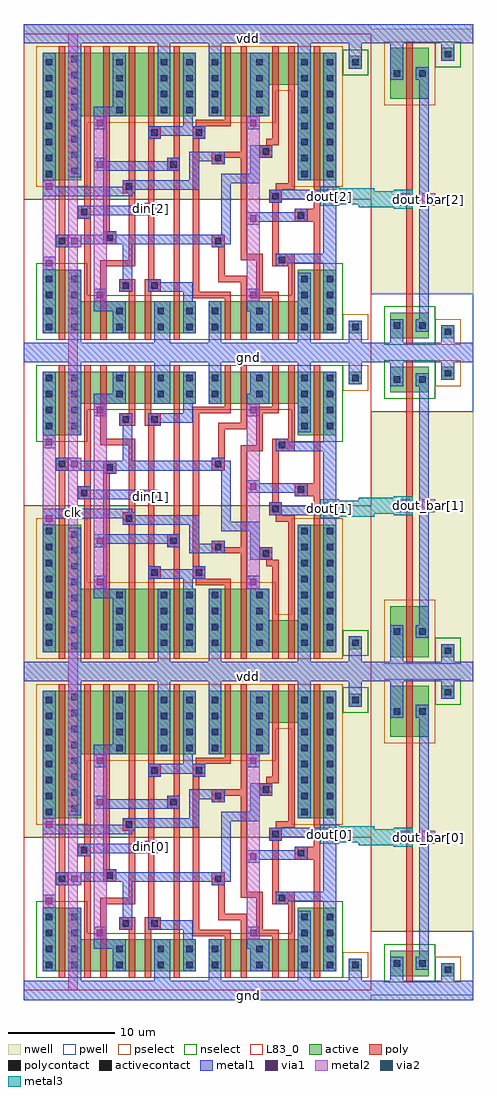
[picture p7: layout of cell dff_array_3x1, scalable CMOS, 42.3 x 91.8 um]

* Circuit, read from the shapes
.subckt dff_array_3x1 clk din[0] din[1] din[2] dout[0] dout[1] dout[2] dout_bar[0] dout_bar[1] dout_bar[2] gnd vdd
M1 gnd clk n1 gnd nfet w=6u l=0.6u
M2 gnd clk n2 gnd nfet w=6u l=0.6u
M3 gnd clk n3 gnd nfet w=6u l=0.6u
M4 n4 din[0] gnd gnd nfet w=3u l=0.6u
M5 n5 din[1] gnd gnd nfet w=3u l=0.6u
M6 n6 din[2] gnd gnd nfet w=3u l=0.6u
M7 n7 n1 n4 gnd nfet w=3u l=0.6u
M8 n8 n2 n5 gnd nfet w=3u l=0.6u
M9 n9 n3 n6 gnd nfet w=3u l=0.6u
M10 n10 clk n7 gnd nfet w=3u l=0.6u
M11 n11 clk n8 gnd nfet w=3u l=0.6u
M12 n12 clk n9 gnd nfet w=3u l=0.6u
M13 gnd n13 n10 gnd nfet w=3u l=0.6u
M14 gnd n14 n11 gnd nfet w=3u l=0.6u
M15 gnd n15 n12 gnd nfet w=3u l=0.6u
M16 n13 n7 gnd gnd nfet w=3u l=0.6u
M17 n14 n8 gnd gnd nfet w=3u l=0.6u
M18 n15 n9 gnd gnd nfet w=3u l=0.6u
M19 n16 n13 gnd gnd nfet w=3u l=0.6u
M20 n17 n14 gnd gnd nfet w=3u l=0.6u
M21 n18 n15 gnd gnd nfet w=3u l=0.6u
M22 n19 clk n16 gnd nfet w=3u l=0.6u
M23 n20 clk n17 gnd nfet w=3u l=0.6u
M24 n21 clk n18 gnd nfet w=3u l=0.6u
M25 n22 n1 n19 gnd nfet w=3u l=0.6u
M26 n23 n2 n20 gnd nfet w=3u l=0.6u
M27 n24 n3 n21 gnd nfet w=3u l=0.6u
M28 gnd dout[0] n22 gnd nfet w=3u l=0.6u
M29 gnd dout[1] n23 gnd nfet w=3u l=0.6u
M30 gnd dout[2] n24 gnd nfet w=3u l=0.6u
M31 dout[0] n19 gnd gnd nfet w=6u l=0.6u
M32 dout[1] n20 gnd gnd nfet w=6u l=0.6u
M33 dout[2] n21 gnd gnd nfet w=6u l=0.6u
M34 dout_bar[0] dout[0] gnd gnd nfet w=2.4u l=0.6u
M35 dout_bar[1] dout[1] gnd gnd nfet w=2.4u l=0.6u
M36 dout_bar[2] dout[2] gnd gnd nfet w=2.4u l=0.6u
M37 vdd clk n1 vdd pfet w=12u l=0.6u
M38 vdd clk n2 vdd pfet w=12u l=0.6u
M39 vdd clk n3 vdd pfet w=12u l=0.6u
M40 n25 din[0] vdd vdd pfet w=6u l=0.6u
M41 n26 din[1] vdd vdd pfet w=6u l=0.6u
M42 n27 din[2] vdd vdd pfet w=6u l=0.6u
M43 n7 clk n25 vdd pfet w=6u l=0.6u
M44 n8 clk n26 vdd pfet w=6u l=0.6u
M45 n9 clk n27 vdd pfet w=6u l=0.6u
M46 n28 n1 n7 vdd pfet w=6u l=0.6u
M47 n29 n2 n8 vdd pfet w=6u l=0.6u
M48 n30 n3 n9 vdd pfet w=6u l=0.6u
M49 vdd n13 n28 vdd pfet w=6u l=0.6u
M50 vdd n14 n29 vdd pfet w=6u l=0.6u
M51 vdd n15 n30 vdd pfet w=6u l=0.6u
M52 n13 n7 vdd vdd pfet w=6u l=0.6u
M53 n14 n8 vdd vdd pfet w=6u l=0.6u
M54 n15 n9 vdd vdd pfet w=6u l=0.6u
M55 n31 n13 vdd vdd pfet w=6u l=0.6u
M56 n32 n14 vdd vdd pfet w=6u l=0.6u
M57 n33 n15 vdd vdd pfet w=6u l=0.6u
M58 n19 n1 n31 vdd pfet w=6u l=0.6u
M59 n20 n2 n32 vdd pfet w=6u l=0.6u
M60 n21 n3 n33 vdd pfet w=6u l=0.6u
M61 n34 clk n19 vdd pfet w=3u l=0.6u
M62 n35 clk n20 vdd pfet w=3u l=0.6u
M63 n36 clk n21 vdd pfet w=3u l=0.6u
M64 vdd dout[0] n34 vdd pfet w=3u l=0.6u
M65 vdd dout[1] n35 vdd pfet w=3u l=0.6u
M66 vdd dout[2] n36 vdd pfet w=3u l=0.6u
M67 dout[0] n19 vdd vdd pfet w=12u l=0.6u
M68 dout[1] n20 vdd vdd pfet w=12u l=0.6u
M69 dout[2] n21 vdd vdd pfet w=12u l=0.6u
M70 dout_bar[0] dout[0] vdd vdd pfet w=4.8u l=0.6u
M71 dout_bar[1] dout[1] vdd vdd pfet w=4.8u l=0.6u
M72 dout_bar[2] dout[2] vdd vdd pfet w=4.8u l=0.6u
.ends

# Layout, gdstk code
import gdstk
lib = gdstk.Library(unit=1e-6, precision=1e-09)
def R(c, l, rs):  # rectangles x0, y0, x1, y1
    for r in rs: c.add(gdstk.rectangle(r[:2], r[2:], *l))
def A(c, l, x, y, w, h, nx, ny, dx, dy):  # array of equal rectangles
    R(c, l, [(x+i*dx, y+j*dy, x+i*dx+w, y+j*dy+h) for i in range(nx) for j in range(ny)])
pwell = (41, 0)
nwell = (42, 0)
active = (43, 0)
pselect = (44, 0)
nselect = (45, 0)
poly = (46, 0)
polycontact = (47, 0)
activecontact = (48, 0)
metal1 = (49, 0)
via1 = (50, 0)
metal2 = (51, 0)
via2 = (61, 0)
metal3 = (62, 0)
L83_0 = (83, 0)

dff = lib.new_cell('dff')
R(dff, pwell, [(0,-0.9,32.7,14.4)])
R(dff, nwell, [(0,14.4,32.7,30.9)])
R(dff, active, [(1.8,1.8,16.2,4.8), (17.4,1.8,29.4,4.8), (30.6,1.8,31.8,3), (1.8,4.8,5.4,7.8), (25.8,4.8,29.4,7.8), (1.8,16.2,5.4,22.2), (25.8,16.2,29.4,25.2), (1.8,22.2,16.2,28.2), (17.4,22.2,23.1,25.2), (17.4,25.2,29.4,28.2), (30.6,26.7,31.8,27.9)])
R(dff, pselect, [(30,1.2,32.4,3.6), (1.2,15.6,6,21.6), (25.2,15.6,30,24.6), (1.2,21.6,23.7,24.6), (1.2,24.6,30,28.8)])
R(dff, nselect, [(1.2,1.2,30,5.4), (1.2,5.4,6,8.4), (25.2,5.4,30,8.4), (30,26.1,32.4,28.5)])
R(dff, poly, [(3.3,1.2,3.9,9.9), (5.7,1.2,6.3,12.6), (7.2,1.2,7.8,8.1), (9.9,1.2,10.5,5.7), (11.4,1.2,12,5.7), (14.1,1.2,14.7,17.1), (18.9,1.2,19.5,5.1), (20.4,1.2,21,6.6), (23.4,1.2,24,5.1), (24.9,1.2,25.5,8.1), (27.3,1.2,27.9,12.3), (15.9,5.1,19.5,5.7), (21.9,5.1,24,5.7), (9,5.7,10.5,6.9), (11.4,5.7,12.9,6.9), (15.9,5.7,16.5,20.1), (21.9,5.7,22.5,8.7), (18.3,6.6,21,7.2), (11.7,6.9,12.3,20.1), (18.3,7.2,18.9,9.9), (7.2,8.1,10.5,8.7), (23.4,8.1,25.5,9.3), (9.9,8.7,10.5,15), (20.4,8.7,22.5,9.3), (20.4,9.3,21,18.3), (23.4,9.3,24,14.1), (3,9.9,4.2,11.1), (17.7,9.9,18.9,11.1), (7.5,10.2,8.7,11.4), (3.3,11.1,3.9,28.8), (7.5,11.4,8.1,28.8), (25.5,12.3,27.9,13.5), (5.1,12.6,6.3,13.8), (27.3,13.5,27.9,28.8), (5.7,13.8,6.3,28.8), (23.1,14.1,24.3,15.3), (9.3,15,10.5,16.2), (23.7,15.3,25.5,15.9), (24.9,15.9,25.5,28.8), (9.9,16.2,10.5,28.8), (13.5,17.1,14.7,18.3), (17.7,17.7,18.9,18.3), (14.1,18.3,14.7,28.8), (17.7,18.3,21,18.9), (22.2,18.3,23.4,19.5), (20.4,18.9,21,28.8), (22.8,19.5,24,20.1), (11.7,20.1,12.9,21.3), (15.9,20.1,17.1,21.3), (23.4,20.1,24,28.8), (11.7,21.3,12.3,28.8), (16.2,21.3,19.5,21.9), (18.9,21.9,19.5,28.8)])
R(dff, polycontact, [(9.3,6,9.9,6.6), (12,6,12.6,6.6), (24,8.4,24.6,9), (3.3,10.2,3.9,10.8), (18,10.2,18.6,10.8), (7.8,10.5,8.4,11.1), (25.8,12.6,26.4,13.2), (5.4,12.9,6,13.5), (23.4,14.4,24,15), (9.6,15.3,10.2,15.9), (13.8,17.4,14.4,18), (18,18,18.6,18.6), (22.5,18.6,23.1,19.2), (12,20.4,12.6,21), (16.2,20.4,16.8,21)])
A(dff, activecontact, 2.1, 2.1, 0.6, 0.6, 1, 4, 0, 1.5)
A(dff, activecontact, 4.5, 2.1, 0.6, 0.6, 1, 4, 0, 1.5)
A(dff, activecontact, 17.7, 2.1, 0.6, 0.6, 3, 2, 4.2, 1.5)
A(dff, activecontact, 28.5, 2.1, 0.6, 0.6, 1, 4, 0, 1.5)
A(dff, activecontact, 2.1, 16.5, 0.6, 0.6, 1, 8, 0, 1.5)
A(dff, activecontact, 26.1, 16.5, 0.6, 0.6, 1, 7, 0, 1.5)
A(dff, activecontact, 28.5, 16.5, 0.6, 0.6, 1, 7, 0, 1.5)
A(dff, activecontact, 4.5, 16.8, 0.6, 0.6, 1, 8, 0, 1.5)
A(dff, activecontact, 8.7, 22.5, 0.6, 0.6, 1, 4, 0, 1.5)
A(dff, activecontact, 12.9, 22.5, 0.6, 0.6, 3, 4, 2.4, 1.5)
A(dff, activecontact, 21.9, 22.5, 0.6, 0.6, 1, 4, 0, 1.5)
A(dff, activecontact, 26.1, 27, 0.6, 0.6, 3, 1, 2.4, 0)
R(dff, activecontact, [(8.7,2.1,9.3,2.7), (12.6,2.1,13.2,2.7), (15.3,2.1,15.9,2.7), (30.9,2.1,31.5,2.7), (8.7,3.6,9.3,4.2), (12.6,3.6,13.2,4.2), (15.3,3.6,15.9,4.2), (26.1,5.1,26.7,5.7), (26.1,6.6,26.7,7.2)])
R(dff, metal1, [(0,-0.9,32.7,0.9), (0,-0.9,32.7,0.9), (4.2,0.9,5.4,7.8), (12.3,0.9,13.8,4.8), (17.4,0.9,18.6,4.8), (25.8,0.9,27,7.5), (30.6,0.9,31.8,3), (1.8,1.8,3,9), (8.4,1.8,9.6,3.9), (15,1.8,16.2,4.8), (21.3,1.8,23.1,3.9), (28.2,1.8,29.4,8.4), (6.6,3.9,9.6,4.8), (21,3.9,23.1,4.8), (6.6,4.8,7.8,6), (15,4.8,15.9,5.7), (21,4.8,22.2,6), (9,5.7,10.2,6.9), (11.7,5.7,15.9,6.6), (11.7,6.6,12.9,6.9), (9.3,6.9,10.2,10.2), (23.7,8.1,24.9,8.4), (23.7,8.4,29.4,9.3), (28.2,9.3,29.4,14.4), (3,9.9,5.4,10.2), (17.7,9.9,18.9,10.2), (3,10.2,19.5,11.1), (7.5,11.1,8.7,11.4), (18.6,11.1,19.5,15.9), (21,12,22.2,12.3), (21,12.3,26.7,13.2), (5.1,12.6,6.3,12.9), (5.1,12.9,12.6,13.8), (25.5,13.2,26.7,13.5), (11.4,13.8,12.6,14.1), (23.1,14.1,24.3,14.4), (23.1,14.4,29.4,15.3), (1.8,14.7,10.2,15), (1.8,15,10.5,15.3), (1.8,15.3,16.5,15.6), (28.2,15.3,29.4,28.2), (1.8,15.6,3,28.2), (9.3,15.6,16.5,16.2), (18.6,15.9,22.2,16.8), (15.6,16.2,16.5,18), (25.8,16.2,27,29.1), (4.2,16.5,5.4,29.1), (21.3,16.8,22.2,18.3), (6.6,17.1,14.7,18), (17.7,17.7,18.9,18), (6.6,18,7.8,18.3), (13.5,18,14.7,18.3), (15.6,18,18.9,18.9), (21.3,18.3,23.4,19.5), (11.7,20.1,12.9,20.4), (15.9,20.1,17.1,20.4), (11.7,20.4,17.1,21.3), (6.6,21,7.8,22.2), (21,21,22.2,22.2), (15,21.3,15.9,22.2), (6.6,22.2,9.6,23.1), (12.6,22.2,13.8,29.1), (15,22.2,16.2,28.2), (17.4,22.2,18.6,29.1), (21.3,22.2,23.1,28.2), (8.4,23.1,9.6,28.2), (30.6,26.7,31.8,29.1), (0,29.1,32.7,30.9), (0,29.1,32.7,30.9)])
R(dff, via1, [(6.9,5.1,7.5,5.7), (21.3,5.1,21.9,5.7), (2.1,8.1,2.7,8.7), (4.5,10.2,5.1,10.8), (21.3,12.3,21.9,12.9), (11.7,13.2,12.3,13.8), (28.5,14.4,29.1,15), (2.1,15.3,2.7,15.9), (6.9,17.4,7.5,18), (6.9,21.3,7.5,21.9), (21.3,21.3,21.9,21.9)])
R(dff, metal2, [(6.6,4.8,7.8,22.2), (21,4.8,22.2,22.2), (1.8,7.8,3,16.2), (4.2,9.9,5.4,11.1), (4.2,9.9,5.4,11.1), (11.4,12.9,12.6,14.1), (11.4,12.9,12.6,14.1), (28.2,14.1,29.4,15.3), (28.2,14.1,29.4,15.3)])
R(dff, L83_0, [(0,0,32.7,30)])
dff.add(gdstk.Label('clk', (4.5,10.2), layer=51, texttype=0))
dff.add(gdstk.Label('D', (12,13.5), layer=51, texttype=0))
dff.add(gdstk.Label('Q', (28.8,14.7), layer=51, texttype=0))
dff.add(gdstk.Label('vdd', (9.6,29.4), layer=49, texttype=0))
dff.add(gdstk.Label('gnd', (13.2,0.3), layer=49, texttype=0))
dff.add(gdstk.Label('D', (12,13.5), layer=51, texttype=0))
dff.add(gdstk.Label('Q', (28.8,14.7), layer=51, texttype=0))
dff.add(gdstk.Label('clk', (4.8,10.5), layer=51, texttype=0))
dff.add(gdstk.Label('vdd', (16.35,30), layer=49, texttype=0))
dff.add(gdstk.Label('gnd', (16.35,0), layer=49, texttype=0))

active_contact_metal1_1x = lib.new_cell('active_contact_metal1_1x1_pn')
R(active_contact_metal1_1x, nwell, [(-1.8,-1.8,3,3)])
R(active_contact_metal1_1x, active, [(0,0,1.2,1.2)])
R(active_contact_metal1_1x, pselect, [(-0.6,-0.6,1.8,1.8)])
R(active_contact_metal1_1x, activecontact, [(0.3,0.3,0.9,0.9)])
R(active_contact_metal1_1x, metal1, [(0,0,1.2,1.2)])

pmos_m1_w4_8_a_p = lib.new_cell('pmos_m1_w4_8_a_p')
R(pmos_m1_w4_8_a_p, nwell, [(-1.8,-1.8,5.4,6.6)])
R(pmos_m1_w4_8_a_p, active, [(0,0,3.6,4.8)])
R(pmos_m1_w4_8_a_p, pselect, [(-0.6,-0.6,4.2,5.4)])
R(pmos_m1_w4_8_a_p, poly, [(1.5,-0.6,2.1,5.4), (1.5,-0.6,2.1,5.4)])
R(pmos_m1_w4_8_a_p, metal1, [(0,1.8,1.2,3), (2.4,1.8,3.6,3)])
pmos_m1_w4_8_a_p.add(gdstk.Reference(active_contact_metal1_1x, (0,1.8)))
pmos_m1_w4_8_a_p.add(gdstk.Reference(active_contact_metal1_1x, (2.4,1.8)))
pmos_m1_w4_8_a_p.add(gdstk.Label('G', (1.8,2.4), layer=46, texttype=0))
pmos_m1_w4_8_a_p.add(gdstk.Label('S', (0.6,2.4), layer=49, texttype=0))
pmos_m1_w4_8_a_p.add(gdstk.Label('D', (3,2.4), layer=49, texttype=0))

c_active_contact_metal1_1x = lib.new_cell('active_contact_metal1_1x1_np')
R(c_active_contact_metal1_1x, pwell, [(-1.8,-1.8,3,3)])
R(c_active_contact_metal1_1x, active, [(0,0,1.2,1.2)])
R(c_active_contact_metal1_1x, nselect, [(-0.6,-0.6,1.8,1.8)])
R(c_active_contact_metal1_1x, activecontact, [(0.3,0.3,0.9,0.9)])
R(c_active_contact_metal1_1x, metal1, [(0,0,1.2,1.2)])

nmos_m1_w2_4_a_p = lib.new_cell('nmos_m1_w2_4_a_p')
R(nmos_m1_w2_4_a_p, pwell, [(-1.8,-1.8,5.4,4.2)])
R(nmos_m1_w2_4_a_p, active, [(0,0,3.6,2.4)])
R(nmos_m1_w2_4_a_p, nselect, [(-0.6,-0.6,4.2,3)])
R(nmos_m1_w2_4_a_p, poly, [(1.5,-0.6,2.1,3), (1.5,-0.6,2.1,3)])
R(nmos_m1_w2_4_a_p, metal1, [(0,0.6,1.2,1.8), (2.4,0.6,3.6,1.8)])
nmos_m1_w2_4_a_p.add(gdstk.Reference(c_active_contact_metal1_1x, (0,0.6)))
nmos_m1_w2_4_a_p.add(gdstk.Reference(c_active_contact_metal1_1x, (2.4,0.6)))
nmos_m1_w2_4_a_p.add(gdstk.Label('G', (1.8,1.2), layer=46, texttype=0))
nmos_m1_w2_4_a_p.add(gdstk.Label('S', (0.6,1.2), layer=49, texttype=0))
nmos_m1_w2_4_a_p.add(gdstk.Label('D', (3,1.2), layer=49, texttype=0))

c_active_contact_metal1_1x_ = lib.new_cell('active_contact_metal1_1x1_nn')
R(c_active_contact_metal1_1x_, nwell, [(-1.8,-1.8,3,3)])
R(c_active_contact_metal1_1x_, active, [(0,0,1.2,1.2)])
R(c_active_contact_metal1_1x_, nselect, [(-0.6,-0.6,1.8,1.8)])
R(c_active_contact_metal1_1x_, activecontact, [(0.3,0.3,0.9,0.9)])
R(c_active_contact_metal1_1x_, metal1, [(0,0,1.2,1.2)])

c_active_contact_metal1_1x__ = lib.new_cell('active_contact_metal1_1x1_pp')
R(c_active_contact_metal1_1x__, pwell, [(-1.8,-1.8,3,3)])
R(c_active_contact_metal1_1x__, active, [(0,0,1.2,1.2)])
R(c_active_contact_metal1_1x__, pselect, [(-0.6,-0.6,1.8,1.8)])
R(c_active_contact_metal1_1x__, activecontact, [(0.3,0.3,0.9,0.9)])
R(c_active_contact_metal1_1x__, metal1, [(0,0,1.2,1.2)])

poly_contact_metal1_1x1 = lib.new_cell('poly_contact_metal1_1x1')
R(poly_contact_metal1_1x1, poly, [(0,0,1.2,1.2)])
R(poly_contact_metal1_1x1, polycontact, [(0.3,0.3,0.9,0.9)])
R(poly_contact_metal1_1x1, metal1, [(0,0,1.2,1.2)])

pinv_2 = lib.new_cell('pinv_2')
R(pinv_2, pwell, [(0,-0.45,9.6,5.55)])
R(pinv_2, nwell, [(0,5.55,9.6,30.45)])
R(pinv_2, poly, [(3.3,0.75,3.9,23.25), (3,13.8,3.3,15)])
R(pinv_2, metal1, [(0,-0.45,9.6,0.45), (1.8,-0.45,3,1.95), (6.6,0,7.8,1.95), (4.5,1.95,5.4,25.65), (2.4,13.8,3.6,15), (4.95,13.95,5.85,14.85), (1.8,25.65,3,30.45), (6.6,28.05,7.8,30), (0,29.55,9.6,30.45)])
pinv_2.add(gdstk.Reference(pmos_m1_w4_8_a_p, (1.8,23.85)))
pinv_2.add(gdstk.Reference(nmos_m1_w2_4_a_p, (1.8,1.35)))
pinv_2.add(gdstk.Reference(c_active_contact_metal1_1x_, (6.6,27.45)))
pinv_2.add(gdstk.Reference(c_active_contact_metal1_1x__, (6.6,1.35)))
pinv_2.add(gdstk.Reference(poly_contact_metal1_1x1, (2.4,13.8)))
pinv_2.add(gdstk.Label('gnd', (4.8,0), layer=49, texttype=0))
pinv_2.add(gdstk.Label('vdd', (4.8,30), layer=49, texttype=0))
pinv_2.add(gdstk.Label('A', (3,14.4), layer=49, texttype=0))
pinv_2.add(gdstk.Label('Z', (5.4,14.4), layer=49, texttype=0))

metal2_via2_metal3_1x1 = lib.new_cell('metal2_via2_metal3_1x1')
R(metal2_via2_metal3_1x1, metal2, [(0.3,0.3,1.5,1.5)])
R(metal2_via2_metal3_1x1, via2, [(0.6,0.6,1.2,1.2)])
R(metal2_via2_metal3_1x1, metal3, [(0,0,1.8,1.8)])

metal1_via1_metal2_1x1 = lib.new_cell('metal1_via1_metal2_1x1')
R(metal1_via1_metal2_1x1, metal1, [(0,0,1.2,1.2)])
R(metal1_via1_metal2_1x1, via1, [(0.3,0.3,0.9,0.9)])
R(metal1_via1_metal2_1x1, metal2, [(0,0,1.2,1.2)])

dff_inv_2 = lib.new_cell('dff_inv_2')
R(dff_inv_2, metal1, [(0,-0.9,42.3,0.9), (0,29.1,42.3,30.9)])
R(dff_inv_2, metal2, [(4.2,9.9,5.4,11.1), (11.4,12.9,12.6,14.1), (37.65,13.95,38.55,14.85), (28.35,14.25,29.25,15.15)])
R(dff_inv_2, metal3, [(31.5,13.65,33,15.15), (32.25,13.65,35.7,15.15), (28.8,13.95,32.25,15.45), (31.5,13.95,33,15.45), (31.5,14.4,33,14.7)])
dff_inv_2.add(gdstk.Reference(dff, (0,0)))
dff_inv_2.add(gdstk.Reference(pinv_2, (32.7,0)))
dff_inv_2.add(gdstk.Reference(metal2_via2_metal3_1x1, (27.9,13.8)))
dff_inv_2.add(gdstk.Reference(metal2_via2_metal3_1x1, (34.8,13.5)))
dff_inv_2.add(gdstk.Reference(metal1_via1_metal2_1x1, (35.1,13.8)))
dff_inv_2.add(gdstk.Reference(metal1_via1_metal2_1x1, (37.5,13.8)))
dff_inv_2.add(gdstk.Label('vdd', (21.15,30), layer=49, texttype=0))
dff_inv_2.add(gdstk.Label('gnd', (21.15,0), layer=49, texttype=0))
dff_inv_2.add(gdstk.Label('clk', (4.8,10.5), layer=51, texttype=0))
dff_inv_2.add(gdstk.Label('D', (12,13.5), layer=51, texttype=0))
dff_inv_2.add(gdstk.Label('Q', (28.8,14.7), layer=51, texttype=0))
dff_inv_2.add(gdstk.Label('Qb', (38.1,14.4), layer=51, texttype=0))

dff_array_3x1 = lib.new_cell('dff_array_3x1')
A(dff_array_3x1, metal1, 0, -0.9, 42.3, 0.9, 1, 4, 0, 30)
R(dff_array_3x1, metal2, [(4.2,0,5.1,90), (11.4,12.9,12.6,14.1), (37.65,13.95,38.55,14.85), (28.35,14.25,29.25,15.15), (28.35,44.85,29.25,45.75), (37.65,45.15,38.55,46.05), (11.4,45.9,12.6,47.1), (11.4,72.9,12.6,74.1), (37.65,73.95,38.55,74.85), (28.35,74.25,29.25,75.15)])
dff_array_3x1.add(gdstk.Reference(dff_inv_2, (0,0)))
dff_array_3x1.add(gdstk.Reference(dff_inv_2, (0,60), x_reflection=True))
dff_array_3x1.add(gdstk.Reference(dff_inv_2, (0,60)))
dff_array_3x1.add(gdstk.Label('vdd', (21.15,29.55), layer=49, texttype=0))
dff_array_3x1.add(gdstk.Label('vdd', (21.15,89.55), layer=49, texttype=0))
dff_array_3x1.add(gdstk.Label('gnd', (21.15,-0.45), layer=49, texttype=0))
dff_array_3x1.add(gdstk.Label('gnd', (21.15,59.55), layer=49, texttype=0))
dff_array_3x1.add(gdstk.Label('din[0]', (12,13.5), layer=51, texttype=0))
dff_array_3x1.add(gdstk.Label('dout[0]', (28.8,14.7), layer=51, texttype=0))
dff_array_3x1.add(gdstk.Label('dout_bar[0]', (38.1,14.4), layer=51, texttype=0))
dff_array_3x1.add(gdstk.Label('din[1]', (12,46.5), layer=51, texttype=0))
dff_array_3x1.add(gdstk.Label('dout[1]', (28.8,45.3), layer=51, texttype=0))
dff_array_3x1.add(gdstk.Label('dout_bar[1]', (38.1,45.6), layer=51, texttype=0))
dff_array_3x1.add(gdstk.Label('din[2]', (12,73.5), layer=51, texttype=0))
dff_array_3x1.add(gdstk.Label('dout[2]', (28.8,74.7), layer=51, texttype=0))
dff_array_3x1.add(gdstk.Label('dout_bar[2]', (38.1,74.4), layer=51, texttype=0))
dff_array_3x1.add(gdstk.Label('clk', (4.65,45), layer=51, texttype=0))

lib.write_gds('dff_array_3x1.gds')
